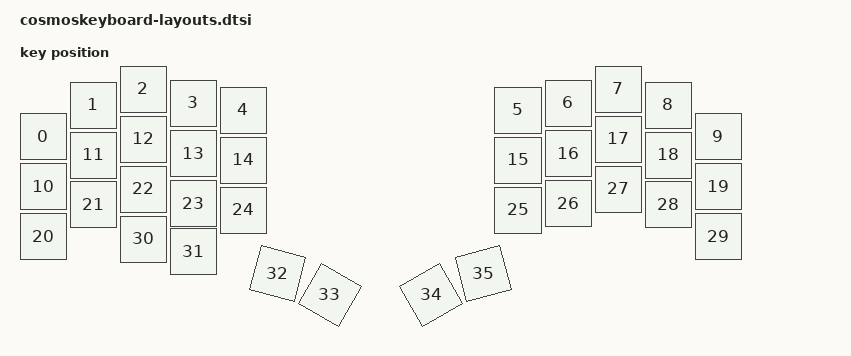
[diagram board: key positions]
#include <physical_layouts.dtsi>

/ {
    physical_layout_cosmoskeyboard: physical_layout_cosmoskeyboard {
        compatible = "zmk,physical-layout";
        display-name = "cosmoskeyboard";
        keys  //                     w   h    x    y     rot    rx    ry
            = <&key_physical_attrs 100 100    0   95       0     0    95>
            , <&key_physical_attrs 100 100  100   32       0   100    32>
            , <&key_physical_attrs 100 100  200    0       0   200     0>
            , <&key_physical_attrs 100 100  300   28       0   300    28>
            , <&key_physical_attrs 100 100  400   42       0   400    42>
            , <&key_physical_attrs 100 100  950   42       0   950    42>
            , <&key_physical_attrs 100 100 1050   28       0  1050    28>
            , <&key_physical_attrs 100 100 1150    0       0  1150     0>
            , <&key_physical_attrs 100 100 1250   32       0  1250    32>
            , <&key_physical_attrs 100 100 1350   95       0  1350    95>
            , <&key_physical_attrs 100 100    0  195       0     0   195>
            , <&key_physical_attrs 100 100  100  132       0   100   132>
            , <&key_physical_attrs 100 100  200  100       0   200   100>
            , <&key_physical_attrs 100 100  300  129       0   300   129>
            , <&key_physical_attrs 100 100  400  142       0   400   142>
            , <&key_physical_attrs 100 100  950  142       0   950   142>
            , <&key_physical_attrs 100 100 1050  129       0  1050   129>
            , <&key_physical_attrs 100 100 1150  100       0  1150   100>
            , <&key_physical_attrs 100 100 1250  132       0  1250   132>
            , <&key_physical_attrs 100 100 1350  195       0  1350   195>
            , <&key_physical_attrs 100 100    0  295       0     0   295>
            , <&key_physical_attrs 100 100  100  231       0   100   231>
            , <&key_physical_attrs 100 100  200  200       0   200   200>
            , <&key_physical_attrs 100 100  300  229       0   300   229>
            , <&key_physical_attrs 100 100  400  242       0   400   242>
            , <&key_physical_attrs 100 100  950  242       0   950   242>
            , <&key_physical_attrs 100 100 1050  229       0  1050   229>
            , <&key_physical_attrs 100 100 1150  200       0  1150   200>
            , <&key_physical_attrs 100 100 1250  231       0  1250   231>
            , <&key_physical_attrs 100 100 1350  295       0  1350   295>
            , <&key_physical_attrs 100 100  200  300       0   200   300>
            , <&key_physical_attrs 100 100  300  325       0   300   325>
            , <&key_physical_attrs 100 100  455  380    1500   555   480>
            , <&key_physical_attrs 100 100  555  380    3000   555   480>
            , <&key_physical_attrs 100 100  795  380 (-3000)   895   480>
            , <&key_physical_attrs 100 100  895  380 (-1500)   895   480>
            ;
    };
};
